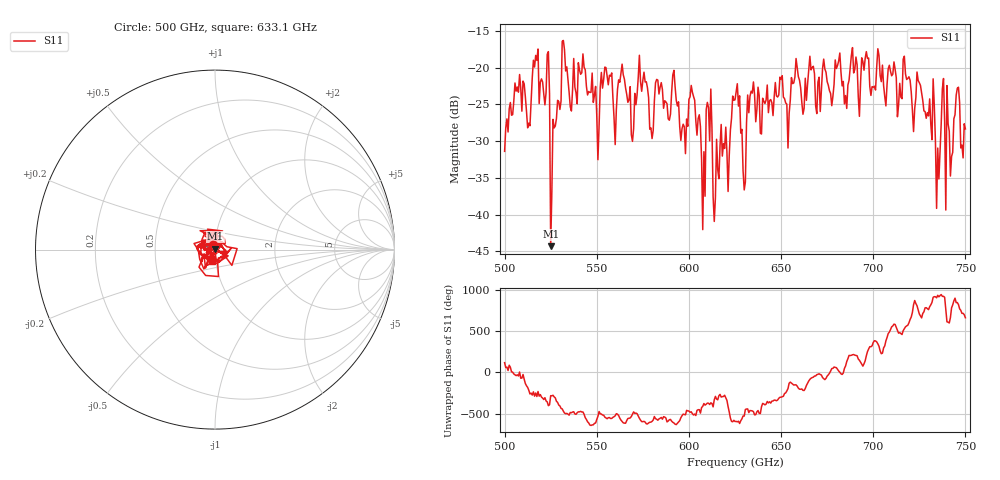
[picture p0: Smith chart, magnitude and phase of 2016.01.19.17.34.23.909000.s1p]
!Created with skrf (http://scikit-rf.org).
# GHz S RI R 50.0
!freq ReS11 ImS11
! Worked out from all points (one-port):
!   401 points, 500 GHz to 750 GHz, reference 50 ohm
!   lowest |S11| = -44.3 dB at 525 GHz (marker M1), VSWR 1.01, Z = 50.1 + j0.599 ohm
!   |S11| at or under -10 dB: start of sweep to end of sweep
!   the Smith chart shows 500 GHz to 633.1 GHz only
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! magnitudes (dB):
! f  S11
! 500 GHz  -31.4
! 506.9 GHz  -22.6
! 513.1 GHz  -27.5
! 516.9 GHz  -18.3
! 523.1 GHz  -18.2
! 525 GHz  -44.3
! 526.2 GHz  -27.0
! 531.2 GHz  -16.4
! 550 GHz  -26.5
! 562.5 GHz  -22.0
! 570 GHz  -28.3
! 574.4 GHz  -23.2
! 579.4 GHz  -28.2
! 593.8 GHz  -25.2
! 601.9 GHz  -23.3
! 607.5 GHz  -42.0
! 610.6 GHz  -25.4
! 614.4 GHz  -37.7
! 625 GHz  -24.4
! 629.4 GHz  -34.0
! 634.4 GHz  -23.4
! 656.2 GHz  -22.2
! 687.5 GHz  -20.0
! 718.8 GHz  -21.5
! 731.9 GHz  -29.8
! 735 GHz  -30.9
! 737.5 GHz  -22.9
! 750 GHz  -28.3
